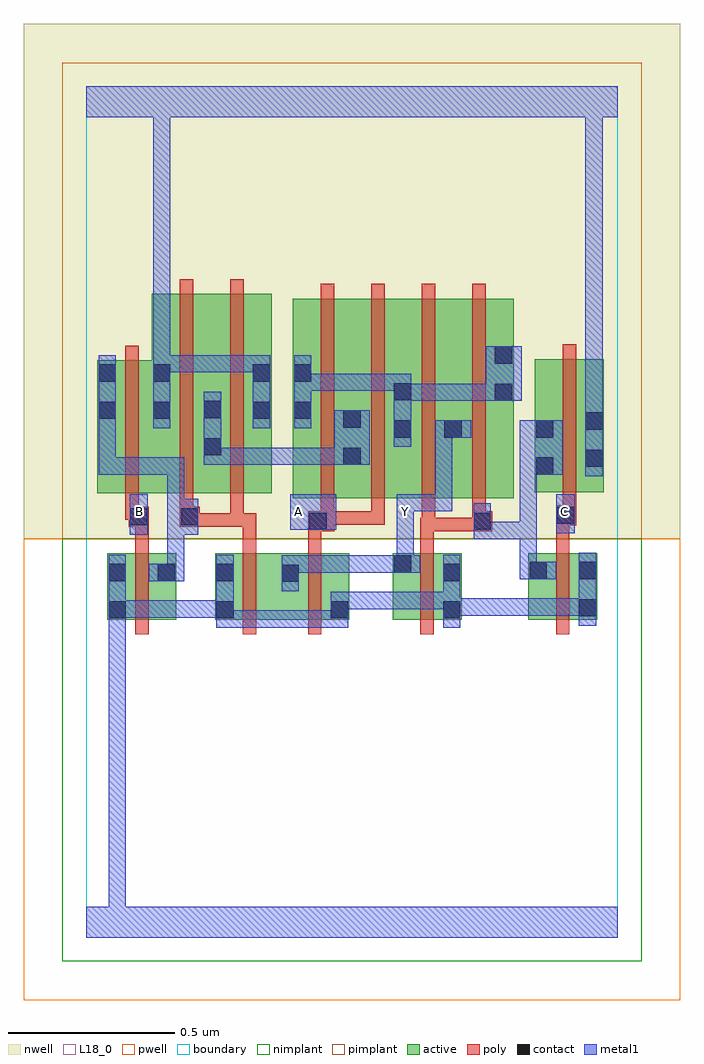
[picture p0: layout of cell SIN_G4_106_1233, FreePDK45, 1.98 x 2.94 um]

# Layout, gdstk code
import gdstk
lib = gdstk.Library(unit=1e-6, precision=1e-09)
def R(c, l, rs):  # rectangles x0, y0, x1, y1
    for r in rs: c.add(gdstk.rectangle(r[:2], r[2:], *l))
def A(c, l, x, y, w, h, nx, ny, dx, dy):  # array of equal rectangles
    R(c, l, [(x+i*dx, y+j*dy, x+i*dx+w, y+j*dy+h) for i in range(nx) for j in range(ny)])
active = (1, 0)
pwell = (2, 0)
nwell = (3, 0)
nimplant = (4, 0)
pimplant = (5, 0)
poly = (9, 0)
contact = (10, 0)
metal1 = (11, 0)
L18_0 = (18, 0)
boundary = (235, 0)

sin_g4_106_1233 = lib.new_cell('SIN_G4_106_1233')
A(sin_g4_106_1233, active, 0.77, 1.322, 0.212, 0.6, 3, 1, 0.152, 0)
R(sin_g4_106_1233, active, [(0.064,0.956,0.124,1.156), (0.064,0.956,0.272,1.156), (0.212,0.956,0.272,1.156), (0.388,0.956,0.448,1.156), (0.388,0.956,0.644,1.156), (0.584,0.956,0.792,1.156), (0.584,0.956,0.644,1.126), (0.732,0.956,0.792,1.156), (0.922,0.956,0.982,1.156), (0.922,0.956,1.13,1.156), (1.07,0.956,1.13,1.156), (1.33,0.956,1.39,1.156), (1.33,0.956,1.538,1.156), (1.478,0.956,1.538,1.156), (0.622,1.322,0.682,1.844), (0.622,1.322,0.83,1.922), (0.77,1.322,0.83,1.844), (0.922,1.322,0.982,1.844), (1.226,1.322,1.286,1.844), (0.034,1.336,0.258,1.736), (0.034,1.336,0.094,1.736), (0.198,1.336,0.41,1.936), (0.198,1.336,0.258,1.936), (0.35,1.336,0.558,1.936), (0.35,1.336,0.41,1.844), (0.498,1.336,0.558,1.844), (1.35,1.34,1.41,1.644), (1.35,1.34,1.558,1.74), (1.498,1.34,1.558,1.644), (1.074,1.5,1.134,1.844)])
R(sin_g4_106_1233, pwell, [(-0.188,-0.188,1.788,1.2)])
R(sin_g4_106_1233, nwell, [(-0.188,1.2,1.788,2.748)])
R(sin_g4_106_1233, nimplant, [(-0.072,-0.072,1.672,1.2)])
R(sin_g4_106_1233, pimplant, [(-0.072,1.2,1.672,2.632)])
A(sin_g4_106_1233, poly, 0.706, 1.278, 0.04, 0.688, 4, 1, 0.152, 0)
R(sin_g4_106_1233, poly, [(0.148,0.912,0.188,1.2), (0.472,0.912,0.512,1.2), (0.668,0.912,0.708,1.2), (1.006,0.912,1.046,1.2), (1.414,0.912,1.454,1.2), (0.148,1.16,0.188,1.276), (0.472,1.16,0.512,1.276), (0.668,1.16,0.708,1.262), (1.006,1.16,1.046,1.262), (1.414,1.16,1.454,1.28), (0.668,1.222,0.708,1.262), (0.668,1.222,0.708,1.262), (0.668,1.222,0.746,1.282), (1.006,1.222,1.05,1.262), (1.01,1.222,1.05,1.262), (1.01,1.222,1.05,1.262), (1.01,1.222,1.05,1.262), (1.01,1.222,1.05,1.262), (1.01,1.222,1.202,1.262), (1.01,1.222,1.05,1.318), (1.162,1.222,1.222,1.282), (0.128,1.236,0.188,1.296), (0.282,1.236,0.342,1.296), (0.302,1.236,0.342,1.276), (0.302,1.236,0.342,1.276), (0.302,1.236,0.474,1.276), (0.434,1.236,0.474,1.276), (0.434,1.236,0.474,1.276), (0.434,1.236,0.474,1.332), (0.434,1.236,0.512,1.276), (1.414,1.24,1.454,1.28), (1.414,1.24,1.454,1.28), (1.414,1.24,1.474,1.3), (0.706,1.242,0.746,1.318), (0.706,1.242,0.898,1.282), (0.858,1.242,0.898,1.318), (0.858,1.242,0.898,1.282), (0.858,1.242,0.898,1.282), (0.858,1.242,0.898,1.282), (1.162,1.242,1.202,1.318), (0.118,1.256,0.158,1.332), (0.118,1.256,0.168,1.296), (0.128,1.256,0.168,1.296), (0.282,1.256,0.322,1.332), (1.434,1.26,1.474,1.336), (0.118,1.292,0.158,1.78), (0.282,1.292,0.322,1.98), (0.434,1.292,0.474,1.98), (1.434,1.296,1.474,1.784)])
R(sin_g4_106_1233, contact, [(0.068,0.96,0.12,1.012), (0.392,0.96,0.444,1.012), (0.736,0.96,0.788,1.012), (1.074,0.96,1.126,1.012), (1.482,0.966,1.534,1.018), (0.588,1.07,0.64,1.122), (0.068,1.072,0.12,1.124), (0.216,1.072,0.268,1.124), (0.392,1.072,0.444,1.124), (1.074,1.072,1.126,1.124), (1.334,1.078,1.386,1.13), (1.482,1.078,1.534,1.13), (0.926,1.098,0.978,1.15), (0.672,1.226,0.724,1.278), (1.166,1.226,1.218,1.278), (0.132,1.24,0.184,1.292), (0.286,1.24,0.338,1.292), (1.418,1.244,1.47,1.296), (1.354,1.392,1.406,1.444), (1.502,1.416,1.554,1.468), (0.774,1.422,0.826,1.474), (0.354,1.45,0.406,1.502), (0.926,1.504,0.978,1.556), (1.078,1.504,1.13,1.556), (1.354,1.504,1.406,1.556), (1.502,1.528,1.554,1.58), (0.774,1.534,0.826,1.586), (0.038,1.56,0.09,1.612), (0.202,1.56,0.254,1.612), (0.502,1.56,0.554,1.612), (0.626,1.56,0.678,1.612), (0.354,1.562,0.406,1.614), (1.23,1.614,1.282,1.666), (0.926,1.616,0.978,1.668), (0.038,1.672,0.09,1.724), (0.202,1.672,0.254,1.724), (0.502,1.672,0.554,1.724), (0.626,1.672,0.678,1.724), (1.23,1.726,1.282,1.778)])
R(sin_g4_106_1233, metal1, [(0,0,1.6,0.092), (0.068,0.04,0.12,0.092), (0.068,0.04,0.12,0.092), (0.068,0.04,0.12,0.092), (0.068,0.04,0.12,0.092), (0.068,0.04,0.12,0.092), (0.068,0.04,0.12,0.092), (0.068,0.04,0.12,0.092), (0.068,0.04,0.12,0.092), (0.068,0.04,0.12,0.092), (0.068,0.04,0.12,0.092), (0.068,0.04,0.12,0.092), (0.068,0.04,0.12,0.092), (0.068,0.04,0.12,0.092), (0.068,0.04,0.12,0.092), (0.068,0.04,0.12,0.984), (0.068,0.932,0.12,0.984), (0.068,0.932,0.12,0.984), (0.068,0.932,0.12,1.152), (0.392,0.932,0.444,0.984), (0.392,0.932,0.444,0.984), (0.392,0.932,0.444,1.152), (0.392,0.932,0.556,0.984), (0.504,0.932,0.556,0.984), (0.504,0.932,0.678,0.984), (0.626,0.932,0.678,0.984), (0.626,0.932,0.678,0.984), (0.626,0.932,0.678,0.984), (0.626,0.932,0.788,0.984), (0.736,0.932,0.788,1.04), (1.074,0.932,1.126,1.152), (1.482,0.938,1.534,1.158), (0.068,0.962,0.12,1.014), (0.068,0.962,0.12,1.014), (0.068,0.962,0.296,1.014), (0.244,0.962,0.296,1.014), (0.244,0.962,0.296,1.014), (0.244,0.962,0.296,1.014), (0.244,0.962,0.444,1.014), (1.074,0.968,1.126,1.02), (1.074,0.968,1.126,1.02), (1.074,0.968,1.328,1.02), (1.276,0.968,1.328,1.02), (1.276,0.968,1.328,1.02), (1.276,0.968,1.328,1.02), (1.276,0.968,1.534,1.02), (1.482,0.968,1.534,1.02), (1.482,0.968,1.534,1.02), (0.736,0.988,0.788,1.04), (0.736,0.988,0.788,1.04), (0.736,0.988,0.986,1.04), (0.934,0.988,0.986,1.04), (0.934,0.988,0.986,1.04), (0.934,0.988,0.986,1.04), (0.934,0.988,1.126,1.04), (0.588,1.042,0.64,1.15), (0.188,1.072,0.296,1.124), (0.244,1.072,0.296,1.32), (1.304,1.078,1.356,1.25), (1.304,1.078,1.358,1.13), (1.306,1.078,1.358,1.13), (1.306,1.078,1.414,1.13), (0.588,1.098,0.666,1.15), (0.614,1.098,0.666,1.15), (0.614,1.098,0.84,1.15), (0.788,1.098,0.84,1.15), (0.788,1.098,0.84,1.15), (0.788,1.098,0.84,1.15), (0.788,1.098,0.95,1.15), (0.898,1.098,1.006,1.15), (0.934,1.098,0.986,1.278), (1.166,1.198,1.356,1.25), (1.166,1.198,1.218,1.306), (1.304,1.198,1.356,1.25), (1.304,1.198,1.356,1.25), (1.304,1.198,1.356,1.25), (1.304,1.198,1.356,1.444), (0.132,1.212,0.186,1.334), (0.286,1.212,0.338,1.32), (1.414,1.216,1.47,1.334), (0.614,1.226,0.752,1.334), (0.934,1.226,0.986,1.334), (0.244,1.268,0.296,1.32), (0.244,1.268,0.296,1.32), (0.244,1.268,0.338,1.32), (0.244,1.268,0.296,1.444), (0.934,1.282,0.986,1.334), (0.934,1.282,0.986,1.334), (0.934,1.282,0.986,1.334), (0.934,1.282,0.986,1.334), (0.934,1.282,1.102,1.334), (1.05,1.282,1.102,1.334), (1.05,1.282,1.102,1.556), (1.502,1.388,1.554,1.608), (0.038,1.392,0.09,1.444), (0.038,1.392,0.09,1.444), (0.038,1.392,0.09,1.444), (0.038,1.392,0.296,1.444), (0.038,1.392,0.09,1.584), (1.304,1.392,1.434,1.556), (0.354,1.422,0.406,1.474), (0.354,1.422,0.406,1.474), (0.354,1.422,0.406,1.642), (0.354,1.422,0.556,1.474), (0.504,1.422,0.556,1.474), (0.504,1.422,0.666,1.474), (0.614,1.422,0.666,1.474), (0.614,1.422,0.666,1.474), (0.614,1.422,0.666,1.474), (0.614,1.422,0.798,1.474), (0.746,1.422,0.854,1.586), (0.926,1.476,0.978,1.696), (1.05,1.504,1.158,1.556), (0.038,1.532,0.09,1.752), (0.202,1.532,0.254,1.752), (0.502,1.532,0.554,1.752), (0.626,1.532,0.678,1.752), (1.502,1.556,1.554,1.608), (1.502,1.556,1.554,1.608), (1.502,1.556,1.554,1.608), (1.502,1.556,1.554,1.608), (1.502,1.556,1.554,1.608), (1.502,1.556,1.554,1.608), (1.502,1.556,1.554,1.608), (1.502,1.556,1.554,1.608), (1.502,1.556,1.554,2.52), (0.926,1.614,0.978,1.666), (0.926,1.614,0.978,1.666), (0.926,1.614,1.096,1.666), (1.044,1.614,1.096,1.666), (1.044,1.614,1.096,1.666), (1.044,1.614,1.096,1.666), (1.044,1.614,1.254,1.666), (1.202,1.614,1.31,1.778), (0.626,1.644,0.678,1.696), (0.626,1.644,0.678,1.696), (0.626,1.644,0.84,1.696), (0.788,1.644,0.84,1.696), (0.788,1.644,0.84,1.696), (0.788,1.644,0.84,1.696), (0.788,1.644,0.978,1.696), (0.202,1.7,0.296,1.752), (0.202,1.7,0.254,2.52), (0.244,1.7,0.296,1.752), (0.244,1.7,0.406,1.752), (0.354,1.7,0.406,1.752), (0.354,1.7,0.406,1.752), (0.354,1.7,0.406,1.752), (0.354,1.7,0.554,1.752), (0,2.468,1.6,2.56), (0.202,2.468,0.254,2.52), (0.202,2.468,0.254,2.52), (0.202,2.468,0.254,2.52), (0.202,2.468,0.254,2.52), (0.202,2.468,0.254,2.52), (0.202,2.468,0.254,2.52), (0.202,2.468,0.254,2.52), (0.202,2.468,0.254,2.52), (0.202,2.468,0.254,2.52), (0.202,2.468,0.254,2.52), (0.202,2.468,0.254,2.52), (0.202,2.468,0.254,2.52), (1.502,2.468,1.554,2.52), (1.502,2.468,1.554,2.52), (1.502,2.468,1.554,2.52), (1.502,2.468,1.554,2.52), (1.502,2.468,1.554,2.52), (1.502,2.468,1.554,2.52), (1.502,2.468,1.554,2.52), (1.502,2.468,1.554,2.52)])
R(sin_g4_106_1233, L18_0, [(0,0,1.6,0.092), (0.068,0.04,0.12,0.092), (0.068,0.04,0.12,0.092), (0.068,0.04,0.12,0.092), (0.068,0.04,0.12,0.092), (0.068,0.04,0.12,0.092), (0.068,0.04,0.12,0.092), (0.068,0.04,0.12,0.092), (0.068,0.04,0.12,0.092), (0.068,0.04,0.12,0.092), (0.068,0.04,0.12,0.092), (0.068,0.04,0.12,0.092), (0.068,0.04,0.12,0.092), (0.068,0.04,0.12,0.092), (0.068,0.04,0.12,0.092), (0.068,0.04,0.12,0.984), (0.068,0.932,0.12,0.984), (0.068,0.932,0.12,0.984), (0.068,0.932,0.12,1.152), (0.392,0.932,0.444,0.984), (0.392,0.932,0.444,0.984), (0.392,0.932,0.444,1.152), (0.392,0.932,0.556,0.984), (0.504,0.932,0.556,0.984), (0.504,0.932,0.678,0.984), (0.626,0.932,0.678,0.984), (0.626,0.932,0.678,0.984), (0.626,0.932,0.678,0.984), (0.626,0.932,0.788,0.984), (0.736,0.932,0.788,1.04), (1.074,0.932,1.126,1.152), (1.482,0.938,1.534,1.158), (0.068,0.962,0.12,1.014), (0.068,0.962,0.12,1.014), (0.068,0.962,0.296,1.014), (0.244,0.962,0.296,1.014), (0.244,0.962,0.296,1.014), (0.244,0.962,0.296,1.014), (0.244,0.962,0.444,1.014), (1.074,0.968,1.126,1.02), (1.074,0.968,1.126,1.02), (1.074,0.968,1.328,1.02), (1.276,0.968,1.328,1.02), (1.276,0.968,1.328,1.02), (1.276,0.968,1.328,1.02), (1.276,0.968,1.534,1.02), (1.482,0.968,1.534,1.02), (1.482,0.968,1.534,1.02), (0.736,0.988,0.788,1.04), (0.736,0.988,0.788,1.04), (0.736,0.988,0.986,1.04), (0.934,0.988,0.986,1.04), (0.934,0.988,0.986,1.04), (0.934,0.988,0.986,1.04), (0.934,0.988,1.126,1.04), (0.588,1.042,0.64,1.15), (0.588,1.098,0.666,1.15), (0.614,1.098,0.666,1.15), (0.614,1.098,0.84,1.15), (0.788,1.098,0.84,1.15), (0.788,1.098,0.84,1.15), (0.788,1.098,0.84,1.15), (0.788,1.098,0.95,1.15), (0.898,1.098,1.006,1.15), (0.934,1.098,0.986,1.278), (0.132,1.212,0.186,1.334), (1.414,1.216,1.47,1.334), (0.614,1.226,0.752,1.334), (0.934,1.226,0.986,1.334), (0.134,1.254,0.186,1.306), (0.614,1.254,0.666,1.306), (0.934,1.254,0.986,1.306), (1.414,1.254,1.466,1.306), (0.934,1.282,0.986,1.334), (0.934,1.282,0.986,1.334), (0.934,1.282,0.986,1.334), (0.934,1.282,0.986,1.334), (0.934,1.282,1.102,1.334), (1.05,1.282,1.102,1.334), (1.05,1.282,1.102,1.556), (1.502,1.388,1.554,1.608), (1.05,1.504,1.158,1.556), (0.202,1.532,0.254,1.752), (0.502,1.532,0.554,1.752), (1.502,1.556,1.554,1.608), (1.502,1.556,1.554,1.608), (1.502,1.556,1.554,1.608), (1.502,1.556,1.554,1.608), (1.502,1.556,1.554,1.608), (1.502,1.556,1.554,1.608), (1.502,1.556,1.554,1.608), (1.502,1.556,1.554,1.608), (1.502,1.556,1.554,2.52), (0.202,1.7,0.254,2.52), (0.202,1.7,0.296,1.752), (0.244,1.7,0.296,1.752), (0.244,1.7,0.406,1.752), (0.354,1.7,0.406,1.752), (0.354,1.7,0.406,1.752), (0.354,1.7,0.406,1.752), (0.354,1.7,0.554,1.752), (0,2.468,1.6,2.56), (0.202,2.468,0.254,2.52), (0.202,2.468,0.254,2.52), (0.202,2.468,0.254,2.52), (0.202,2.468,0.254,2.52), (0.202,2.468,0.254,2.52), (0.202,2.468,0.254,2.52), (0.202,2.468,0.254,2.52), (0.202,2.468,0.254,2.52), (0.202,2.468,0.254,2.52), (0.202,2.468,0.254,2.52), (0.202,2.468,0.254,2.52), (0.202,2.468,0.254,2.52), (1.502,2.468,1.554,2.52), (1.502,2.468,1.554,2.52), (1.502,2.468,1.554,2.52), (1.502,2.468,1.554,2.52), (1.502,2.468,1.554,2.52), (1.502,2.468,1.554,2.52), (1.502,2.468,1.554,2.52), (1.502,2.468,1.554,2.52)])
R(sin_g4_106_1233, boundary, [(0,0,1.6,2.56)])
sin_g4_106_1233.add(gdstk.Label('A', (0.64,1.28), layer=11, texttype=0))
sin_g4_106_1233.add(gdstk.Label('B', (0.16,1.28), layer=11, texttype=0))
sin_g4_106_1233.add(gdstk.Label('C', (1.44,1.28), layer=11, texttype=0))
sin_g4_106_1233.add(gdstk.Label('Y', (0.96,1.28), layer=11, texttype=0))

lib.write_gds('SIN_G4_106_1233.gds')
